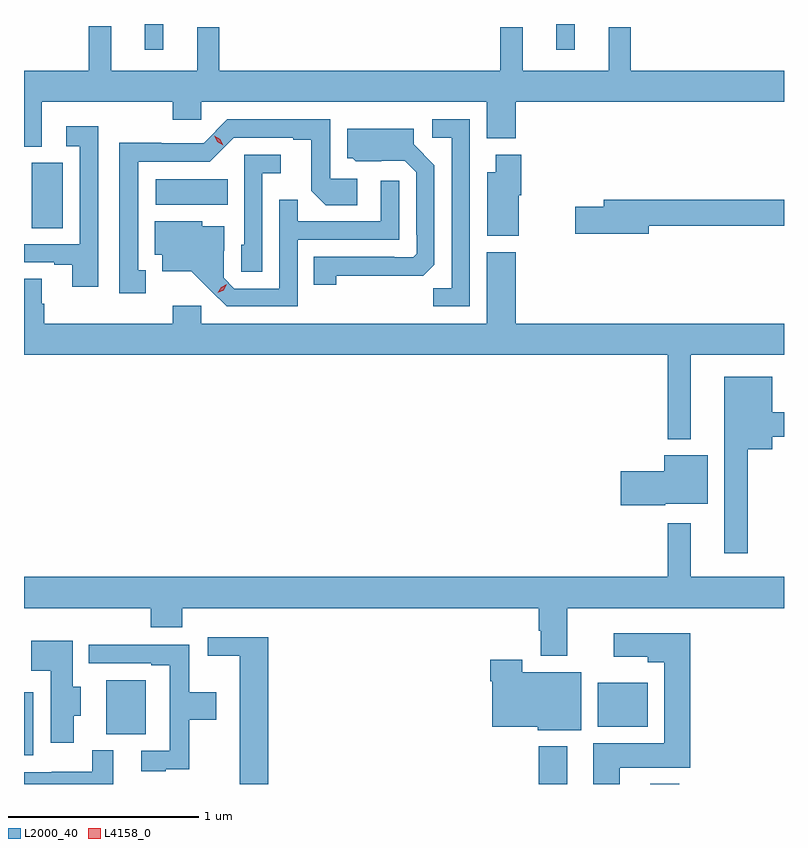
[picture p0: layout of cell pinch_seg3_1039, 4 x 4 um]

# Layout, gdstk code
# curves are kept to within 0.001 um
import gdstk
lib = gdstk.Library(unit=1e-6, precision=1e-09)
def R(c, l, rs):  # rectangles x0, y0, x1, y1
    for r in rs: c.add(gdstk.rectangle(r[:2], r[2:], *l))
def P(c, l, *ps):  # polygons
    for p in ps: c.add(gdstk.Polygon(p, *l))
L2000_40 = (2000, 40)
L4158_0 = (4158, 0)

pinch_seg3_1039 = lib.new_cell('pinch_seg3_1039')
R(pinch_seg3_1039, L2000_40, [(337.637,690.666,337.789,690.865), (338.225,690.666,338.378,690.667), (334.929,690.818,334.978,691.15), (335.363,690.929,335.569,691.213), (337.949,690.968,338.212,691.198), (334.97,693.592,335.134,693.936), (335.622,693.716,336.002,693.85), (335.564,694.53,335.661,694.666), (337.731,694.53,337.828,694.666)])
P(pinch_seg3_1039, L2000_40, [(335.862,694.256),(337.364,694.256),(337.364,694.064),(337.517,694.064),(337.517,694.256),(338.929,694.256),(338.929,694.42),(338.123,694.42),(338.123,694.649),(338.006,694.649),(338.006,694.42),(337.553,694.42),(337.553,694.648),(337.435,694.648),(337.435,694.42),(335.957,694.42),(335.957,694.648),(335.84,694.648),(335.84,694.42),(335.387,694.42),(335.387,694.654),(335.269,694.654),(335.269,694.42),(334.929,694.42),(334.929,694.021),(335.023,694.021),(335.023,694.256),(335.711,694.256),(335.711,694.163),(335.862,694.163)],
  [(335.569,693.369),(335.53,693.369),(335.53,693.942),(335.907,693.942),(336.033,694.068),(336.347,694.068),(336.347,694.056),(336.441,694.056),(336.441,693.788),(336.517,693.712),(336.682,693.712),(336.682,693.852),(336.54,693.852),(336.54,694.164),(336,694.164),(335.874,694.038),(335.652,694.038),(335.652,694.04),(335.429,694.04),(335.429,693.249),(335.569,693.249)],
  [(337.275,694.164),(337.077,694.164),(337.077,694.068),(337.179,694.068),(337.179,693.275),(337.084,693.275),(337.084,693.18),(337.275,693.18)],
  [(335.319,694.129),(335.151,694.129),(335.151,694.023),(335.223,694.023),(335.223,693.507),(334.929,693.507),(334.929,693.411),(335.087,693.411),(335.087,693.399),(335.183,693.399),(335.183,693.282),(335.319,693.282)],
  [(336.573,693.34),(337.03,693.341),(337.089,693.4),(337.089,693.922),(336.979,694.032),(336.979,694.114),(336.629,694.114),(336.629,693.96),(336.66,693.96),(336.676,693.944),(336.933,693.945),(336.993,693.885),(336.993,693.556),(336.996,693.556),(336.996,693.456),(336.978,693.438),(336.878,693.438),(336.878,693.441),(336.454,693.441),(336.454,693.294),(336.573,693.294)],
  [(337.534,693.765),(337.547,693.765),(337.547,693.979),(337.412,693.979),(337.412,693.886),(337.367,693.886),(337.367,693.551),(337.534,693.551)],
  [(336.183,693.881),(336.28,693.881),(336.28,693.978),(336.087,693.978),(336.087,693.504),(336.072,693.504),(336.072,693.361),(336.183,693.361)],
  [(336.369,693.531),(336.903,693.531),(336.903,693.841),(336.807,693.841),(336.807,693.627),(336.371,693.627),(336.371,693.74),(336.273,693.74),(336.273,693.273),(336.036,693.273),(335.979,693.33),(335.979,693.472),(335.983,693.472),(335.983,693.601),(335.868,693.601),(335.868,693.628),(335.618,693.628),(335.618,693.452),(335.657,693.452),(335.657,693.365),(335.809,693.365),(335.996,693.18),(336.369,693.18)],
  [(338.218,693.604),(338.929,693.604),(338.929,693.74),(337.979,693.74),(337.979,693.704),(337.83,693.704),(337.83,693.562),(338.218,693.562)],
  [(338.437,692.924),(338.929,692.924),(338.929,693.088),(337.517,693.088),(337.517,693.466),(337.364,693.466),(337.364,693.088),(335.862,693.088),(335.862,693.184),(335.711,693.184),(335.711,693.088),(335.036,693.088),(335.036,693.194),(335.023,693.194),(335.023,693.326),(334.929,693.326),(334.929,692.924),(338.316,692.924),(338.316,692.48),(338.437,692.48)],
  [(338.737,692.429),(338.866,692.429),(338.866,692.494),(338.929,692.494),(338.929,692.623),(338.866,692.623),(338.866,692.809),(338.615,692.809),(338.615,691.881),(338.737,691.881)],
  [(338.304,692.141),(338.527,692.141),(338.527,692.395),(338.3,692.395),(338.3,692.312),(338.07,692.312),(338.07,692.134),(338.304,692.134)],
  [(337.789,691.592),(338.929,691.592),(338.929,691.756),(338.437,691.756),(338.437,692.038),(338.316,692.038),(338.316,691.756),(334.929,691.756),(334.929,691.592),(335.597,691.592),(335.597,691.49),(335.762,691.49),(335.762,691.592),(337.637,691.592),(337.637,691.472),(337.649,691.472),(337.649,691.34),(337.789,691.34)],
  [(338.065,690.752),(338.435,690.752),(338.435,691.459),(338.034,691.459),(338.034,691.337),(338.213,691.337),(338.213,691.307),(338.3,691.307),(338.3,690.88),(337.925,690.88),(337.925,690.666),(338.065,690.666)],
  [(336.215,691.438),(335.895,691.438),(335.895,691.34),(336.065,691.34),(336.065,690.666),(336.215,690.666)],
  [(335.191,691.024),(335.227,691.024),(335.227,691.179),(335.185,691.179),(335.185,691.42),(334.966,691.42),(334.966,691.262),(335.069,691.262),(335.069,690.882),(335.191,690.882)],
  [(335.675,690.743),(335.798,690.743),(335.798,691.003),(335.941,691.003),(335.941,691.15),(335.798,691.15),(335.798,691.398),(335.513,691.398),(335.513,691.4),(335.271,691.4),(335.271,691.302),(335.6,691.302),(335.6,691.29),(335.697,691.29),(335.697,690.84),(335.547,690.84),(335.547,690.732),(335.675,690.732)],
  [(337.861,691.255),(337.552,691.255),(337.552,691.321),(337.382,691.321),(337.382,691.208),(337.394,691.208),(337.394,690.968),(337.632,690.968),(337.632,690.95),(337.861,690.95)],
  [(335.398,690.844),(335.289,690.844),(335.289,690.73),(335.074,690.73),(335.074,690.729),(334.929,690.729),(334.929,690.666),(335.398,690.666)])
P(pinch_seg3_1039, L4158_0, [(335.949,693.251),(335.949,693.251),(335.966,693.281),(335.996,693.296),(335.996,693.296),(335.996,693.296),(335.979,693.266),(335.949,693.251)],
  [(335.978,694.027),(335.946,694.046),(335.929,694.078),(335.929,694.078),(335.929,694.078),(335.961,694.059),(335.978,694.027),(335.978,694.027)])

lib.write_gds('pinch_seg3_1039.gds')
